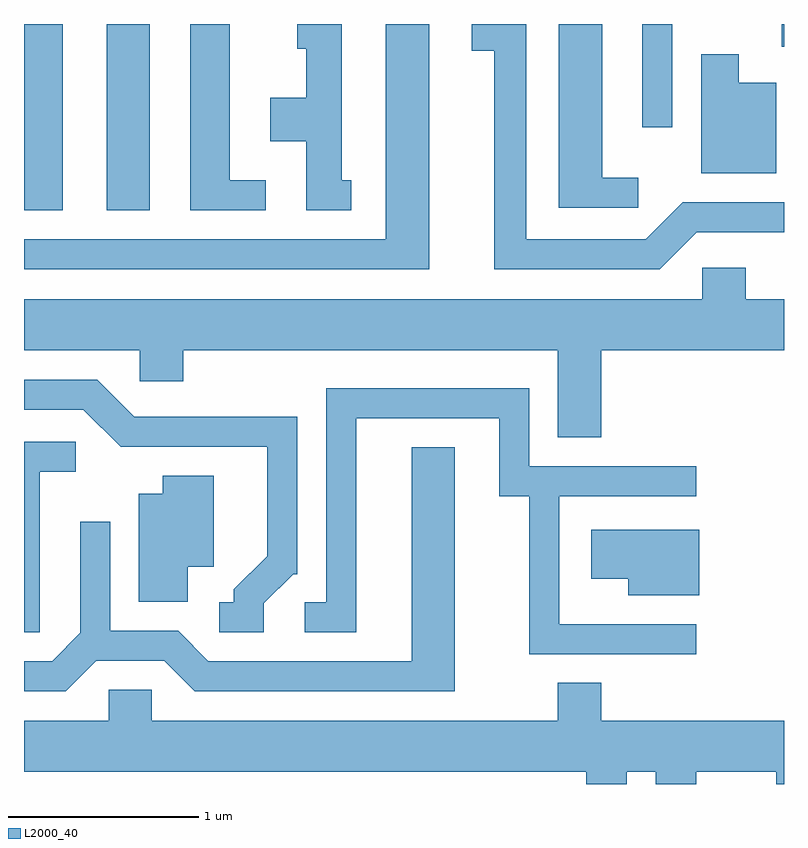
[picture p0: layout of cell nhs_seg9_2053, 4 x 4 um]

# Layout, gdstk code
import gdstk
lib = gdstk.Library(unit=1e-6, precision=1e-09)
def R(c, l, rs):  # rectangles x0, y0, x1, y1
    for r in rs: c.add(gdstk.rectangle(r[:2], r[2:], *l))
def P(c, l, *ps):  # polygons
    for p in ps: c.add(gdstk.Polygon(p, *l))
L2000_40 = (2000, 40)

nhs_seg9_2053 = lib.new_cell('nhs_seg9_2053')
R(nhs_seg9_2053, L2000_40, [(245.611,1981.451,245.814,1982.432), (246.046,1981.451,246.274,1982.432), (248.866,1981.888,249.024,1982.432), (249.598,1982.311,249.611,1982.432)])
P(nhs_seg9_2053, L2000_40, [(246.883,1981.609),(246.694,1981.609),(246.694,1982.432),(246.486,1982.432),(246.486,1981.451),(246.883,1981.451)],
  [(247.744,1982.432),(247.516,1982.432),(247.516,1981.299),(245.611,1981.299),(245.611,1981.141),(247.744,1981.141)],
  [(247.333,1981.609),(247.284,1981.609),(247.284,1982.432),(247.048,1982.432),(247.048,1982.301),(247.096,1982.301),(247.096,1982.044),(246.906,1982.044),(246.906,1981.816),(247.096,1981.816),(247.096,1981.451),(247.333,1981.451)],
  [(249.152,1981.336),(249.611,1981.336),(249.611,1981.494),(249.079,1981.494),(248.884,1981.299),(248.254,1981.299),(248.254,1982.432),(247.968,1982.432),(247.968,1982.291),(248.086,1982.291),(248.086,1981.141),(248.957,1981.141)],
  [(248.843,1981.624),(248.654,1981.624),(248.654,1982.432),(248.426,1982.432),(248.426,1981.466),(248.843,1981.466)],
  [(249.569,1982.124),(249.374,1982.124),(249.374,1982.274),(249.176,1982.274),(249.176,1981.646),(249.569,1981.646)],
  [(248.649,1980.716),(249.611,1980.716),(249.611,1980.984),(249.409,1980.984),(249.409,1981.149),(249.181,1981.149),(249.181,1980.984),(245.611,1980.984),(245.611,1980.716),(246.221,1980.716),(246.221,1980.551),(246.449,1980.551),(246.449,1980.716),(248.421,1980.716),(248.421,1980.256),(248.649,1980.256)],
  [(246.874,1979.384),(247.027,1979.536),(247.049,1979.536),(247.049,1980.364),(246.192,1980.364),(245.997,1980.559),(245.611,1980.559),(245.611,1980.401),(245.924,1980.401),(246.119,1980.206),(246.891,1980.206),(246.891,1979.632),(246.716,1979.457),(246.716,1979.389),(246.638,1979.389),(246.638,1979.231),(246.874,1979.231)],
  [(249.148,1979.274),(248.429,1979.274),(248.429,1979.946),(249.148,1979.946),(249.148,1980.104),(248.269,1980.104),(248.269,1980.514),(247.201,1980.514),(247.201,1979.389),(247.088,1979.389),(247.088,1979.231),(247.359,1979.231),(247.359,1980.356),(248.111,1980.356),(248.111,1979.946),(248.271,1979.946),(248.271,1979.116),(249.148,1979.116)],
  [(245.694,1980.076),(245.883,1980.076),(245.883,1980.234),(245.611,1980.234),(245.611,1979.231),(245.694,1979.231)],
  [(245.992,1979.081),(246.349,1979.081),(246.509,1978.921),(247.879,1978.921),(247.879,1980.204),(247.651,1980.204),(247.651,1979.079),(246.582,1979.079),(246.422,1979.239),(246.064,1979.239),(246.064,1979.813),(245.906,1979.813),(245.906,1979.227),(245.759,1979.079),(245.611,1979.079),(245.611,1978.921),(245.832,1978.921)],
  [(246.474,1979.576),(246.609,1979.576),(246.609,1980.054),(246.341,1980.054),(246.341,1979.959),(246.216,1979.959),(246.216,1979.391),(246.474,1979.391)],
  [(249.164,1979.769),(248.596,1979.769),(248.596,1979.511),(248.791,1979.511),(248.791,1979.426),(249.164,1979.426)],
  [(248.784,1978.496),(248.936,1978.496),(248.936,1978.432),(249.149,1978.432),(249.149,1978.496),(249.571,1978.496),(249.571,1978.432),(249.611,1978.432),(249.611,1978.764),(248.649,1978.764),(248.649,1978.964),(248.421,1978.964),(248.421,1978.764),(246.284,1978.764),(246.284,1978.929),(246.056,1978.929),(246.056,1978.764),(245.611,1978.764),(245.611,1978.496),(248.571,1978.496),(248.571,1978.432),(248.784,1978.432)])

lib.write_gds('nhs_seg9_2053.gds')
